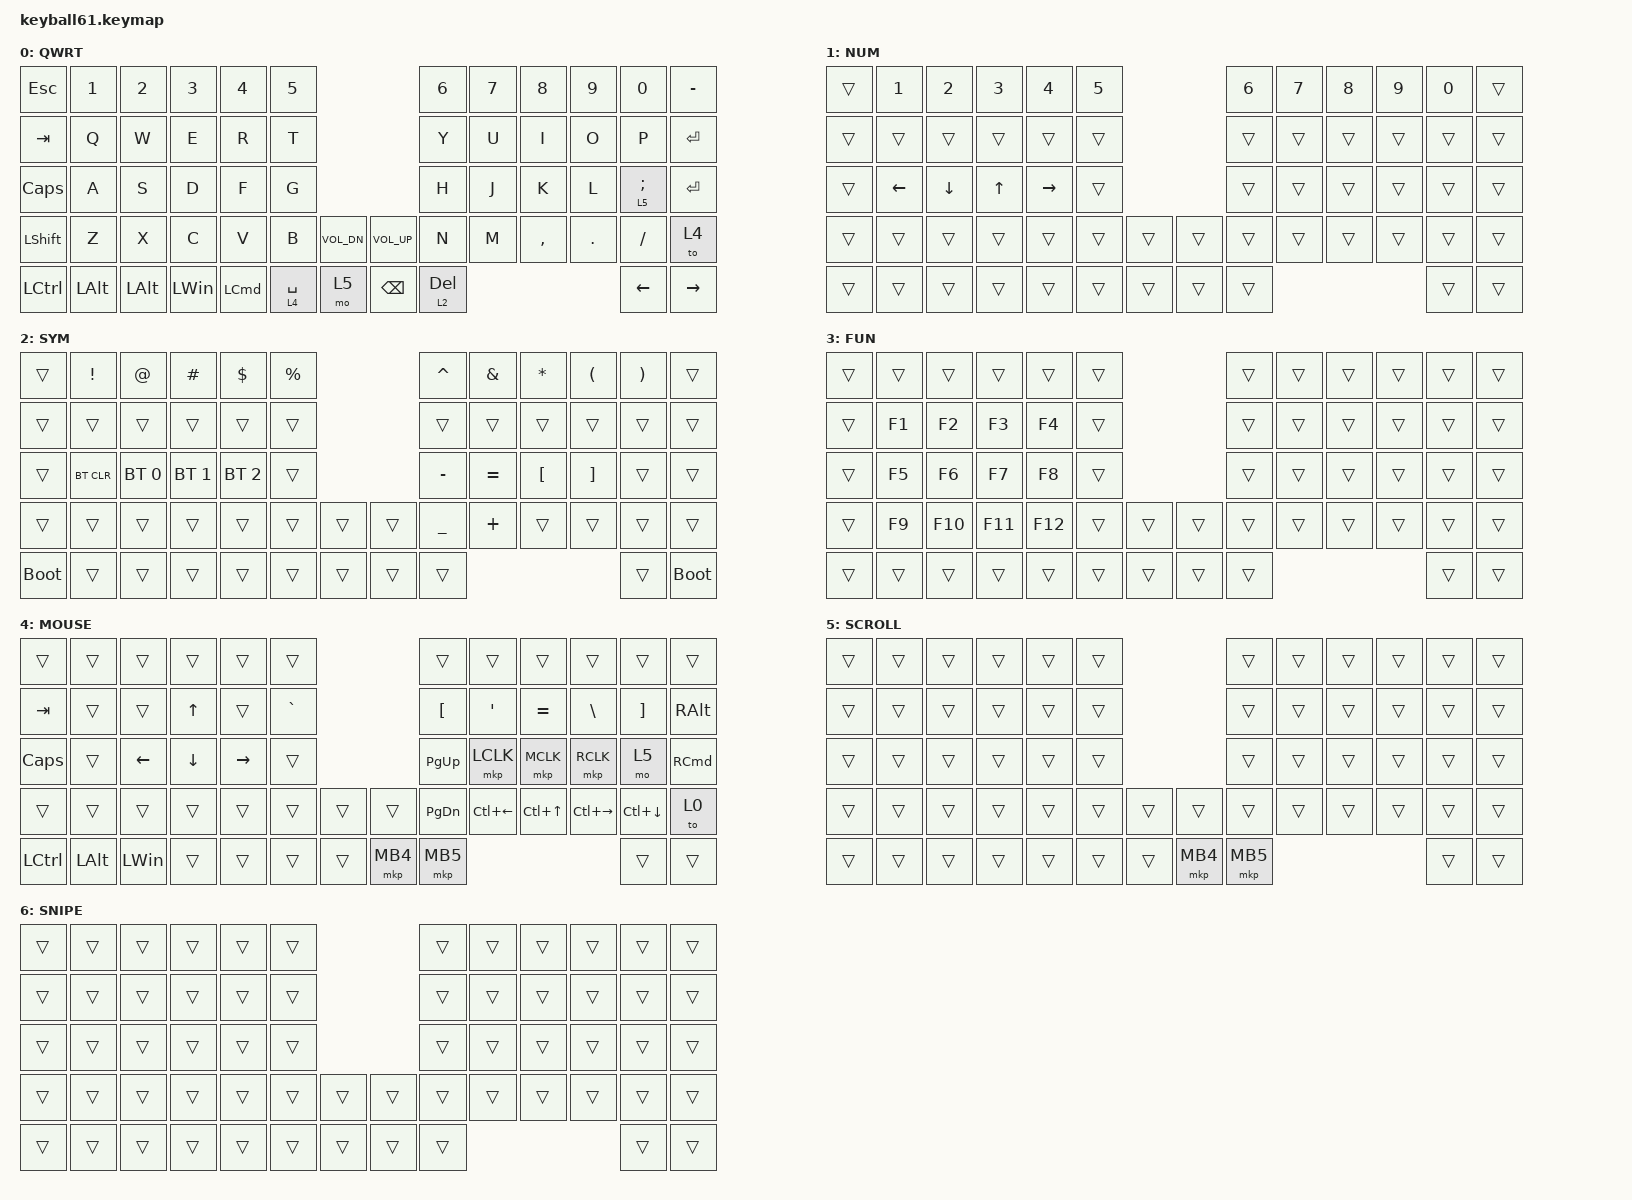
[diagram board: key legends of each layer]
#define DEFAULT 0
#define SYM     1
#define FUN     2
#define MOUSE   3
#define SCROLL  4
#define SNIPE   5

#include <behaviors/mouse_keys.dtsi>
#include <dt-bindings/zmk/mouse.h>
#include <behaviors.dtsi>
#include <dt-bindings/zmk/bt.h>
#include <dt-bindings/zmk/keys.h>
#include <dt-bindings/zmk/pointing.h>

&lt {
    tapping-term-ms = <190>;
    flavor = "balanced";
    quick-tap-ms = <170>;
};

&mt {
    tapping-term-ms = <190>;
    flavor = "tap-preferred";
    quick-tap-ms = <170>;
};

/ {
    keymap {
        compatible = "zmk,keymap";

        default_layer {
            label = "QWRT";
            bindings = <
&kp ESC           &kp N1        &kp N2        &kp N3        &kp N4    &kp N5                                    &kp N6        &kp N7  &kp N8     &kp N9   &kp N0          &kp MINUS
&kp TAB           &kp Q         &kp W         &kp E         &kp R     &kp T                                     &kp Y         &kp U   &kp I      &kp O    &kp P           &kp ENTER
&kp CAPS          &kp A         &kp S         &kp D         &kp F     &kp G                                     &kp H         &kp J   &kp K      &kp L    &lt 5 SEMI      &kp ENTER
&kp LEFT_SHIFT    &kp Z         &kp X         &kp C         &kp V     &kp B        &kp C_VOL_DN  &kp C_VOL_UP   &kp N         &kp M   &kp COMMA  &kp DOT  &kp FSLH        &to 4
&kp LEFT_CONTROL  &kp LEFT_ALT  &kp LEFT_ALT  &kp LEFT_WIN  &kp LCMD  &lt 4 SPACE  &mo 5         &kp BACKSPACE  &lt 2 DELETE                              &kp LEFT_ARROW  &kp RIGHT_ARROW
            >;
        };

        number_layer {
            bindings = <
&trans  &kp N1    &kp N2    &kp N3  &kp N4     &kp N5                  &kp N6  &kp N7  &kp N8  &kp N9  &kp N0  &trans
&trans  &trans    &trans    &trans  &trans     &trans                  &trans  &trans  &trans  &trans  &trans  &trans
&trans  &kp LEFT  &kp DOWN  &kp UP  &kp RIGHT  &trans                  &trans  &trans  &trans  &trans  &trans  &trans
&trans  &trans    &trans    &trans  &trans     &trans  &trans  &trans  &trans  &trans  &trans  &trans  &trans  &trans
&trans  &trans    &trans    &trans  &trans     &trans  &trans  &trans  &trans                          &trans  &trans
            >;

            label = "NUM";
        };

        symbol_layer {
            label = "SYM";
            bindings = <
&trans       &kp EXCLAMATION  &kp AT_SIGN   &kp HASH      &kp DOLLAR    &kp PERCENT                  &kp CARET       &kp AMPERSAND  &kp ASTERISK      &kp LEFT_PARENTHESIS  &kp RIGHT_PARENTHESIS  &trans
&trans       &trans           &trans        &trans        &trans        &trans                       &trans          &trans         &trans            &trans                &trans                 &trans
&trans       &bt BT_CLR       &bt BT_SEL 0  &bt BT_SEL 1  &bt BT_SEL 2  &trans                       &kp MINUS       &kp EQUAL      &kp LEFT_BRACKET  &kp RIGHT_BRACKET     &trans                 &trans
&trans       &trans           &trans        &trans        &trans        &trans       &trans  &trans  &kp UNDERSCORE  &kp PLUS       &trans            &trans                &trans                 &trans
&bootloader  &trans           &trans        &trans        &trans        &trans       &trans  &trans  &trans                                                                 &trans                 &bootloader
            >;
        };

        function_layer {
            label = "FUN";
            bindings = <
&trans  &trans  &trans   &trans   &trans   &trans                  &trans  &trans  &trans  &trans  &trans  &trans
&trans  &kp F1  &kp F2   &kp F3   &kp F4   &trans                  &trans  &trans  &trans  &trans  &trans  &trans
&trans  &kp F5  &kp F6   &kp F7   &kp F8   &trans                  &trans  &trans  &trans  &trans  &trans  &trans
&trans  &kp F9  &kp F10  &kp F11  &kp F12  &trans  &trans  &trans  &trans  &trans  &trans  &trans  &trans  &trans
&trans  &trans  &trans   &trans   &trans   &trans  &trans  &trans  &trans                          &trans  &trans
            >;
        };

        mouse_layer {
            label = "MOUSE";
            bindings = <
&trans     &trans        &trans        &trans    &trans     &trans                       &trans            &trans            &trans      &trans         &trans             &trans
&kp TAB    &trans        &trans        &kp UP    &trans     &kp GRAVE                    &kp LEFT_BRACKET  &kp SINGLE_QUOTE  &kp EQUAL   &kp BACKSLASH  &kp RIGHT_BRACKET  &kp RIGHT_ALT
&kp CAPS   &trans        &kp LEFT      &kp DOWN  &kp RIGHT  &trans                       &kp PAGE_UP       &mkp LCLK         &mkp MCLK   &mkp RCLK      &mo 5              &kp RCMD
&trans     &trans        &trans        &trans    &trans     &trans     &trans  &trans    &kp PAGE_DOWN     &kp LC(LEFT)      &kp LC(UP)  &kp LC(RIGHT)  &kp LC(DOWN)       &to 0
&kp LCTRL  &kp LEFT_ALT  &kp LEFT_WIN  &trans    &trans     &trans     &trans  &mkp MB4  &mkp MB5                                                       &trans             &trans
            >;
        };

        scroll_layer {
            label = "SCROLL";
            bindings = <
&trans  &trans  &trans  &trans  &trans  &trans                    &trans    &trans  &trans  &trans  &trans  &trans
&trans  &trans  &trans  &trans  &trans  &trans                    &trans    &trans  &trans  &trans  &trans  &trans
&trans  &trans  &trans  &trans  &trans  &trans                    &trans    &trans  &trans  &trans  &trans  &trans
&trans  &trans  &trans  &trans  &trans  &trans  &trans  &trans    &trans    &trans  &trans  &trans  &trans  &trans
&trans  &trans  &trans  &trans  &trans  &trans  &trans  &mkp MB4  &mkp MB5                          &trans  &trans
            >;
        };

        snipe_layer {
            label = "SNIPE";
            bindings = <
&trans  &trans  &trans  &trans  &trans  &trans                  &trans  &trans  &trans  &trans  &trans  &trans
&trans  &trans  &trans  &trans  &trans  &trans                  &trans  &trans  &trans  &trans  &trans  &trans
&trans  &trans  &trans  &trans  &trans  &trans                  &trans  &trans  &trans  &trans  &trans  &trans
&trans  &trans  &trans  &trans  &trans  &trans  &trans  &trans  &trans  &trans  &trans  &trans  &trans  &trans
&trans  &trans  &trans  &trans  &trans  &trans  &trans  &trans  &trans                          &trans  &trans
            >;
        };
    };
};
